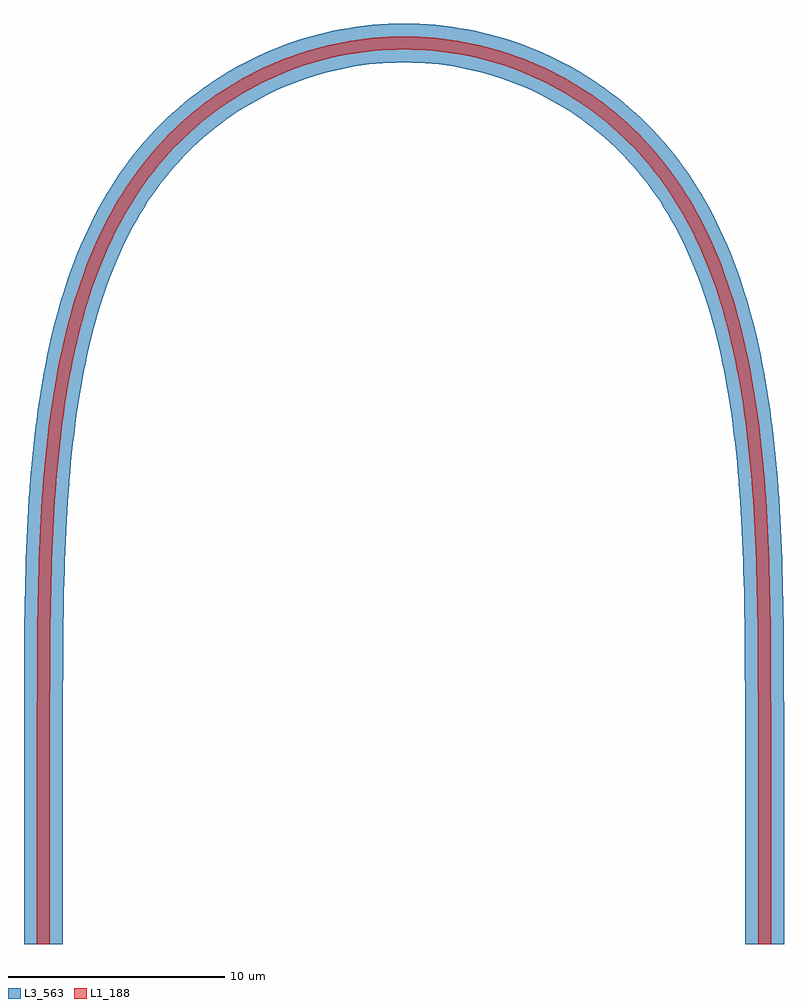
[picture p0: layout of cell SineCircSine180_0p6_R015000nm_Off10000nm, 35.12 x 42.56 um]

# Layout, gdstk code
import gdstk
lib = gdstk.Library(unit=1e-6, precision=1e-09)
L1_188 = (1, 188)
L3_563 = (3, 563)

sinecircsine180_0p6_r015 = lib.new_cell('SineCircSine180_0p6_R015000nm_Off10000nm')
sinecircsine180_0p6_r015.add(gdstk.FlexPath([(-16.661,-26.661),(-16.661,-16.661),(-16.661,-16.171),(-16.661,-15.681),(-16.66,-15.191),(-16.659,-14.702),(-16.658,-14.213),(-16.656,-13.725),(-16.653,-13.238),(-16.65,-12.752),(-16.645,-12.266),(-16.639,-11.782),(-16.632,-11.299),(-16.623,-10.818),(-16.613,-10.338),(-16.601,-9.86),(-16.588,-9.384),(-16.572,-8.909),(-16.555,-8.437),(-16.535,-7.966),(-16.513,-7.498),(-16.488,-7.033),(-16.461,-6.57),(-16.432,-6.109),(-16.399,-5.652),(-16.364,-5.197),(-16.326,-4.745),(-16.285,-4.296),(-16.24,-3.851),(-16.192,-3.409),(-16.141,-2.97),(-16.086,-2.534),(-16.028,-2.103),(-15.966,-1.675),(-15.9,-1.251),(-15.83,-0.83),(-15.757,-0.414),(-15.679,-0.002),(-15.597,0.406),(-15.51,0.81),(-15.42,1.209),(-15.325,1.604),(-15.225,1.994),(-15.121,2.38),(-15.012,2.761),(-14.898,3.138),(-14.78,3.509),(-14.656,3.876),(-14.528,4.238),(-14.395,4.594),(-14.257,4.946),(-14.113,5.293),(-13.964,5.634),(-13.811,5.97),(-13.651,6.301),(-13.487,6.627),(-13.317,6.947),(-13.142,7.262),(-12.961,7.571),(-12.775,7.875),(-12.583,8.173),(-12.386,8.466),(-12.183,8.753),(-11.975,9.035),(-11.761,9.311),(-11.541,9.581),(-11.316,9.846),(-11.085,10.105),(-10.849,10.359),(-10.607,10.607),(-10.359,10.849),(-10.105,11.085),(-9.847,11.316),(-9.583,11.54),(-9.314,11.758),(-9.04,11.97),(-8.761,12.176),(-8.477,12.375),(-8.189,12.567),(-7.896,12.753),(-7.6,12.932),(-7.299,13.104),(-6.994,13.269),(-6.686,13.427),(-6.374,13.578),(-6.059,13.722),(-5.74,13.858),(-5.419,13.987),(-5.094,14.109),(-4.767,14.222),(-4.437,14.329),(-4.105,14.427),(-3.771,14.518),(-3.434,14.602),(-3.096,14.677),(-2.756,14.745),(-2.415,14.804),(-2.072,14.856),(-1.729,14.9),(-1.384,14.936),(-1.039,14.964),(-0.693,14.984),(-0.346,14.996),(0,15),(0.346,14.996),(0.693,14.984),(1.039,14.964),(1.384,14.936),(1.729,14.9),(2.072,14.856),(2.415,14.804),(2.756,14.745),(3.096,14.677),(3.434,14.602),(3.771,14.518),(4.105,14.427),(4.437,14.329),(4.767,14.222),(5.094,14.109),(5.419,13.987),(5.74,13.858),(6.059,13.722),(6.374,13.578),(6.686,13.427),(6.994,13.269),(7.299,13.104),(7.6,12.932),(7.896,12.753),(8.189,12.567),(8.477,12.375),(8.761,12.176),(9.04,11.97),(9.314,11.758),(9.583,11.54),(9.847,11.316),(10.105,11.085),(10.359,10.849),(10.607,10.607),(10.849,10.359),(11.085,10.105),(11.316,9.846),(11.541,9.581),(11.761,9.311),(11.975,9.035),(12.183,8.753),(12.386,8.466),(12.583,8.173),(12.775,7.875),(12.961,7.571),(13.142,7.262),(13.317,6.947),(13.487,6.627),(13.651,6.301),(13.811,5.97),(13.964,5.634),(14.113,5.293),(14.257,4.946),(14.395,4.594),(14.528,4.238),(14.656,3.876),(14.78,3.509),(14.898,3.138),(15.012,2.761),(15.121,2.38),(15.225,1.994),(15.325,1.604),(15.42,1.209),(15.51,0.81),(15.597,0.406),(15.679,-0.002),(15.757,-0.414),(15.83,-0.83),(15.9,-1.251),(15.966,-1.675),(16.028,-2.103),(16.086,-2.534),(16.141,-2.97),(16.192,-3.409),(16.24,-3.851),(16.285,-4.296),(16.326,-4.745),(16.364,-5.197),(16.399,-5.652),(16.432,-6.109),(16.461,-6.57),(16.488,-7.033),(16.513,-7.498),(16.535,-7.966),(16.555,-8.437),(16.572,-8.909),(16.588,-9.384),(16.601,-9.86),(16.613,-10.338),(16.623,-10.818),(16.632,-11.299),(16.639,-11.782),(16.645,-12.266),(16.65,-12.752),(16.653,-13.238),(16.656,-13.725),(16.658,-14.213),(16.659,-14.702),(16.66,-15.191),(16.661,-15.681),(16.661,-16.171),(16.661,-16.661),(16.661,-26.661)], 0.6, ends="flush", simple_path=True, layer=1, datatype=188))  # L1_188
sinecircsine180_0p6_r015.add(gdstk.FlexPath([(-16.661,-26.661),(-16.661,-16.661),(-16.661,-16.171),(-16.661,-15.681),(-16.66,-15.191),(-16.659,-14.702),(-16.658,-14.213),(-16.656,-13.725),(-16.653,-13.238),(-16.65,-12.752),(-16.645,-12.266),(-16.639,-11.782),(-16.632,-11.299),(-16.623,-10.818),(-16.613,-10.338),(-16.601,-9.86),(-16.588,-9.384),(-16.572,-8.909),(-16.555,-8.437),(-16.535,-7.966),(-16.513,-7.498),(-16.488,-7.033),(-16.461,-6.57),(-16.432,-6.109),(-16.399,-5.652),(-16.364,-5.197),(-16.326,-4.745),(-16.285,-4.296),(-16.24,-3.851),(-16.192,-3.409),(-16.141,-2.97),(-16.086,-2.534),(-16.028,-2.103),(-15.966,-1.675),(-15.9,-1.251),(-15.83,-0.83),(-15.757,-0.414),(-15.679,-0.002),(-15.597,0.406),(-15.51,0.81),(-15.42,1.209),(-15.325,1.604),(-15.225,1.994),(-15.121,2.38),(-15.012,2.761),(-14.898,3.138),(-14.78,3.509),(-14.656,3.876),(-14.528,4.238),(-14.395,4.594),(-14.257,4.946),(-14.113,5.293),(-13.964,5.634),(-13.811,5.97),(-13.651,6.301),(-13.487,6.627),(-13.317,6.947),(-13.142,7.262),(-12.961,7.571),(-12.775,7.875),(-12.583,8.173),(-12.386,8.466),(-12.183,8.753),(-11.975,9.035),(-11.761,9.311),(-11.541,9.581),(-11.316,9.846),(-11.085,10.105),(-10.849,10.359),(-10.607,10.607),(-10.359,10.849),(-10.105,11.085),(-9.847,11.316),(-9.583,11.54),(-9.314,11.758),(-9.04,11.97),(-8.761,12.176),(-8.477,12.375),(-8.189,12.567),(-7.896,12.753),(-7.6,12.932),(-7.299,13.104),(-6.994,13.269),(-6.686,13.427),(-6.374,13.578),(-6.059,13.722),(-5.74,13.858),(-5.419,13.987),(-5.094,14.109),(-4.767,14.222),(-4.437,14.329),(-4.105,14.427),(-3.771,14.518),(-3.434,14.602),(-3.096,14.677),(-2.756,14.745),(-2.415,14.804),(-2.072,14.856),(-1.729,14.9),(-1.384,14.936),(-1.039,14.964),(-0.693,14.984),(-0.346,14.996),(0,15),(0.346,14.996),(0.693,14.984),(1.039,14.964),(1.384,14.936),(1.729,14.9),(2.072,14.856),(2.415,14.804),(2.756,14.745),(3.096,14.677),(3.434,14.602),(3.771,14.518),(4.105,14.427),(4.437,14.329),(4.767,14.222),(5.094,14.109),(5.419,13.987),(5.74,13.858),(6.059,13.722),(6.374,13.578),(6.686,13.427),(6.994,13.269),(7.299,13.104),(7.6,12.932),(7.896,12.753),(8.189,12.567),(8.477,12.375),(8.761,12.176),(9.04,11.97),(9.314,11.758),(9.583,11.54),(9.847,11.316),(10.105,11.085),(10.359,10.849),(10.607,10.607),(10.849,10.359),(11.085,10.105),(11.316,9.846),(11.541,9.581),(11.761,9.311),(11.975,9.035),(12.183,8.753),(12.386,8.466),(12.583,8.173),(12.775,7.875),(12.961,7.571),(13.142,7.262),(13.317,6.947),(13.487,6.627),(13.651,6.301),(13.811,5.97),(13.964,5.634),(14.113,5.293),(14.257,4.946),(14.395,4.594),(14.528,4.238),(14.656,3.876),(14.78,3.509),(14.898,3.138),(15.012,2.761),(15.121,2.38),(15.225,1.994),(15.325,1.604),(15.42,1.209),(15.51,0.81),(15.597,0.406),(15.679,-0.002),(15.757,-0.414),(15.83,-0.83),(15.9,-1.251),(15.966,-1.675),(16.028,-2.103),(16.086,-2.534),(16.141,-2.97),(16.192,-3.409),(16.24,-3.851),(16.285,-4.296),(16.326,-4.745),(16.364,-5.197),(16.399,-5.652),(16.432,-6.109),(16.461,-6.57),(16.488,-7.033),(16.513,-7.498),(16.535,-7.966),(16.555,-8.437),(16.572,-8.909),(16.588,-9.384),(16.601,-9.86),(16.613,-10.338),(16.623,-10.818),(16.632,-11.299),(16.639,-11.782),(16.645,-12.266),(16.65,-12.752),(16.653,-13.238),(16.656,-13.725),(16.658,-14.213),(16.659,-14.702),(16.66,-15.191),(16.661,-15.681),(16.661,-16.171),(16.661,-16.661),(16.661,-26.661)], 1.8, ends="flush", simple_path=True, layer=3, datatype=563))  # L3_563

lib.write_gds('SineCircSine180_0p6_R015000nm_Off10000nm.gds')
